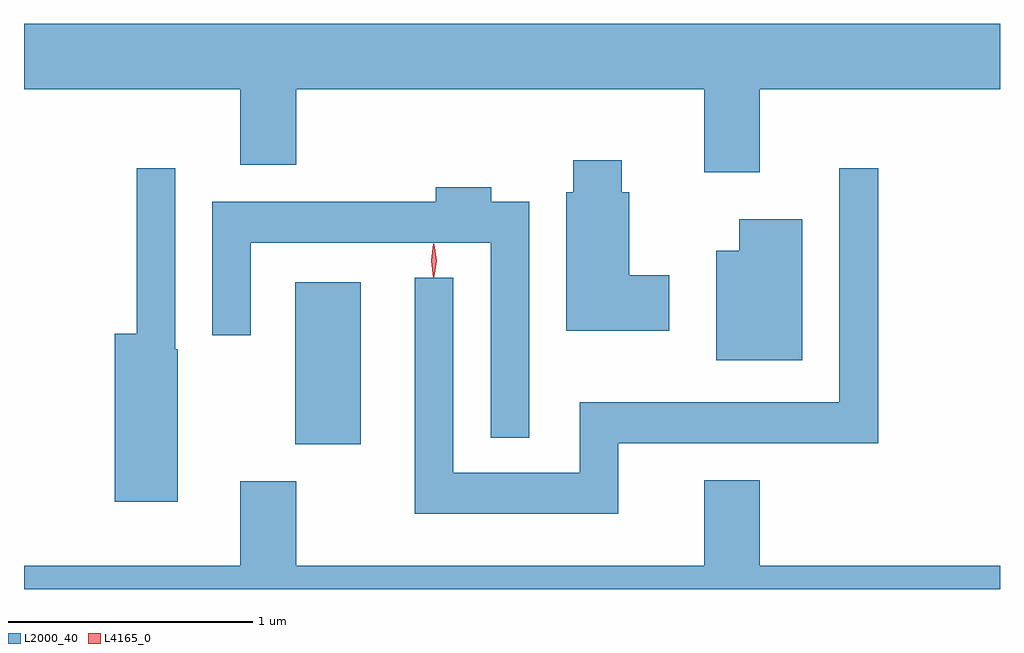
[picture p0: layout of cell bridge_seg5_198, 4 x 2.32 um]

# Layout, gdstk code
import gdstk
lib = gdstk.Library(unit=1e-6, precision=1e-09)
def R(c, l, rs):  # rectangles x0, y0, x1, y1
    for r in rs: c.add(gdstk.rectangle(r[:2], r[2:], *l))
def P(c, l, *ps):  # polygons
    for p in ps: c.add(gdstk.Polygon(p, *l))
L2000_40 = (2000, 40)
L4165_0 = (4165, 0)

bridge_seg5_198 = lib.new_cell('bridge_seg5_198')
R(bridge_seg5_198, L2000_40, [(1279.386,1417.601,1279.654,1418.264)])
P(bridge_seg5_198, L2000_40, [(1281.289,1419.056),(1282.274,1419.056),(1282.274,1419.324),(1278.274,1419.324),(1278.274,1419.056),(1279.161,1419.056),(1279.161,1418.746),(1279.389,1418.746),(1279.389,1419.056),(1281.061,1419.056),(1281.061,1418.716),(1281.289,1418.716)],
  [(1280.919,1418.294),(1280.754,1418.294),(1280.754,1418.634),(1280.724,1418.634),(1280.724,1418.764),(1280.526,1418.764),(1280.526,1418.634),(1280.496,1418.634),(1280.496,1418.066),(1280.919,1418.066)],
  [(1278.904,1417.99),(1278.894,1417.99),(1278.894,1418.733),(1278.736,1418.733),(1278.736,1418.054),(1278.646,1418.054),(1278.646,1417.366),(1278.904,1417.366)],
  [(1280.709,1417.606),(1281.774,1417.606),(1281.774,1418.733),(1281.616,1418.733),(1281.616,1417.774),(1280.551,1417.774),(1280.551,1417.484),(1280.034,1417.484),(1280.034,1418.283),(1279.876,1418.283),(1279.876,1417.316),(1280.709,1417.316)],
  [(1280.344,1418.594),(1280.189,1418.594),(1280.189,1418.654),(1279.961,1418.654),(1279.961,1418.594),(1279.046,1418.594),(1279.046,1418.048),(1279.204,1418.048),(1279.204,1418.426),(1280.186,1418.426),(1280.186,1417.628),(1280.344,1417.628)],
  [(1281.464,1418.524),(1281.206,1418.524),(1281.206,1418.394),(1281.111,1418.394),(1281.111,1417.946),(1281.464,1417.946)],
  [(1282.274,1417.104),(1281.289,1417.104),(1281.289,1417.454),(1281.061,1417.454),(1281.061,1417.104),(1279.389,1417.104),(1279.389,1417.449),(1279.161,1417.449),(1279.161,1417.104),(1278.274,1417.104),(1278.274,1417.007),(1282.274,1417.007)])
P(bridge_seg5_198, L4165_0, [(1279.953,1418.283),(1279.952,1418.284),(1279.943,1418.353),(1279.952,1418.422),(1279.953,1418.423),(1279.953,1418.422),(1279.963,1418.353),(1279.953,1418.284)],
  [(1279.956,1418.287),(1279.955,1418.288),(1279.946,1418.354),(1279.955,1418.42),(1279.956,1418.42),(1279.956,1418.42),(1279.965,1418.354),(1279.956,1418.288)])

lib.write_gds('bridge_seg5_198.gds')
